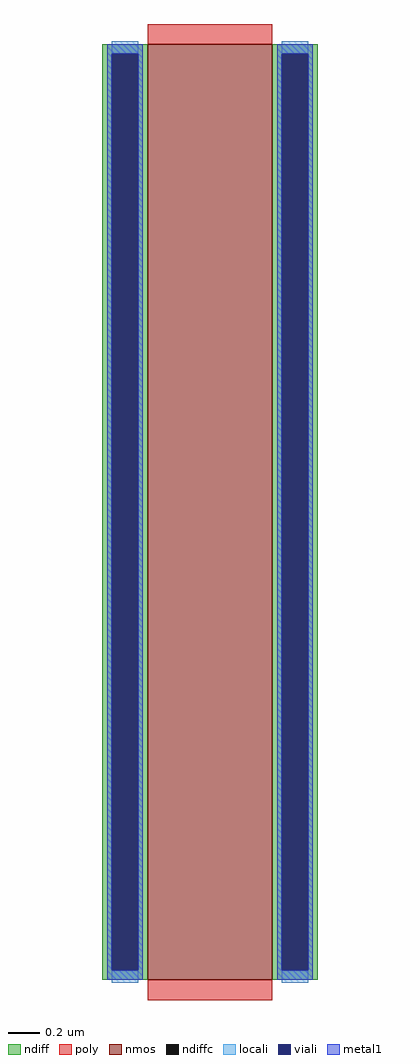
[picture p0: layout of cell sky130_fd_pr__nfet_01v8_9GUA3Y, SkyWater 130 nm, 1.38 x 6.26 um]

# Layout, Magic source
magic
tech sky130A
<< nmos >>
rect -40 -300 40 300
<< ndiff >>
rect -69 294 -40 300
rect -69 -294 -63 294
rect -46 -294 -40 294
rect -69 -300 -40 -294
rect 40 294 69 300
rect 40 -294 46 294
rect 63 -294 69 294
rect 40 -300 69 -294
<< ndiffc >>
rect -63 -294 -46 294
rect 46 -294 63 294
<< poly >>
rect -40 300 40 313
rect -40 -313 40 -300
<< locali >>
rect -63 294 -46 302
rect -63 -302 -46 -294
rect 46 294 63 302
rect 46 -302 63 -294
<< viali >>
rect -63 -294 -46 294
rect 46 -294 63 294
<< metal1 >>
rect -66 294 -43 300
rect -66 -294 -63 294
rect -46 -294 -43 294
rect -66 -300 -43 -294
rect 43 294 66 300
rect 43 -294 46 294
rect 63 -294 66 294
rect 43 -300 66 -294
<< properties >>
string gencell sky130_fd_pr__nfet_01v8
string library sky130
string parameters w 6 l 0.8 m 1 nf 1 diffcov 100 polycov 100 guard 0 glc 0 grc 0 gtc 0 gbc 0 tbcov 100 rlcov 100 topc 0 botc 0 poverlap 0 doverlap 0 lmin 0.15 wmin 0.42 compatible {sky130_fd_pr__nfet_01v8 sky130_fd_pr__nfet_01v8_lvt  sky130_fd_bs_flash__special_sonosfet_star  sky130_fd_pr__nfet_g5v0d10v5 sky130_fd_pr__nfet_05v0_nvt  sky130_fd_pr__nfet_03v3_nvt} full_metal 0 viasrc 100 viadrn 100 viagate 100 viagb 0 viagr 0 viagl 0 viagt 0
<< end >>
